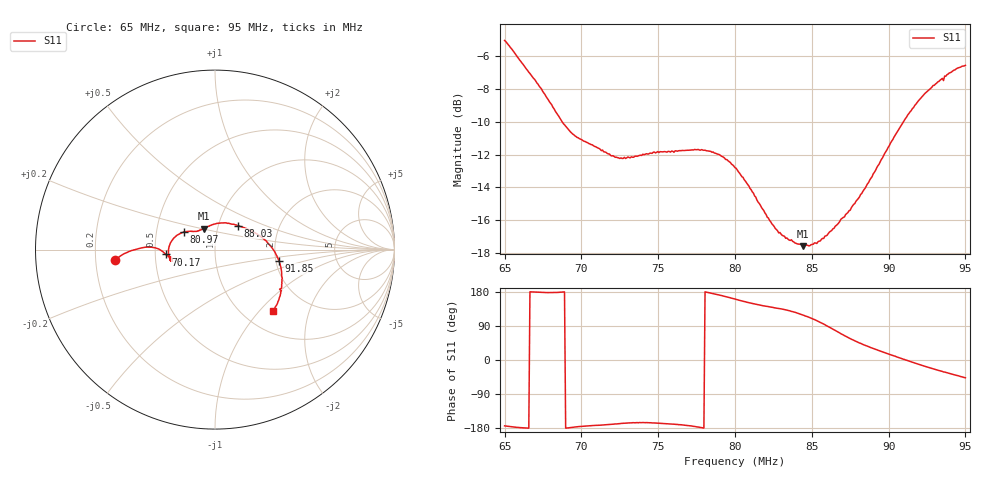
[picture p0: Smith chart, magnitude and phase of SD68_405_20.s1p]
! NanoVNA-App
! Date: 2025-08-02 16:45:28
! Start: 65MHz Stop: 95MHz Points: 401
! S-Parameter data: F S11
# Hz S RI R 50
!  Frequency  S11_Real  S11_Imag
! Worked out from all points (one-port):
!   401 points, 65 MHz to 95 MHz, reference 50 ohm
!   lowest |S11| = -17.6 dB at 84.42 MHz (marker M1), VSWR 1.30, Z = 43 + j10.2 ohm
!   |S11| at or under -10 dB: 68.74 MHz to 90.96 MHz (22.22 MHz wide, 27.8 % of centre)
!   S11 on the Smith chart (normalised r, x): 65 MHz: 0.28, -0.05; 70.17 MHz: 0.57, -0.03; 80.97 MHz: 0.69, +0.14; 88.03 MHz: 1.24, +0.34; 91.85 MHz: 2.08, -0.30; 95 MHz: 1.35, -1.18
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6.5e7  -0.5558 -0.0598
6.5975e7  -0.4875 -0.0153
6.695e7  -0.4257 0.00554
6.785e7  -0.3682 0.0134
6.875e7  -0.3158 0.00458
6.9425e7  -0.2901 -0.0119
7.0175e7  -0.2745 -0.0269
7.25e7  -0.2391 -0.0508
7.415e7  -0.2436 -0.0635
7.625e7  -0.2533 -0.0448
7.8425e7  -0.2565 0.0153
7.91e7  -0.2451 0.0419
8e7  -0.2165 0.075
8.0975e7  -0.1726 0.0977
8.27e7  -0.1088 0.1012
8.375e7  -0.0836 0.1082
8.4425e7  -0.0631 0.1162
8.5625e7  -0.019 0.1374
8.6675e7  0.0412 0.1485
8.75e7  0.0943 0.1416
8.8025e7  0.1273 0.1336
8.975e7  0.2393 0.0836
9.125e7  0.3317 -0.0103
9.185e7  0.3562 -0.0622
9.245e7  0.3702 -0.1182
9.335e7  0.3718 -0.2021
9.41e7  0.3579 -0.27
9.5e7  0.3209 -0.3427
